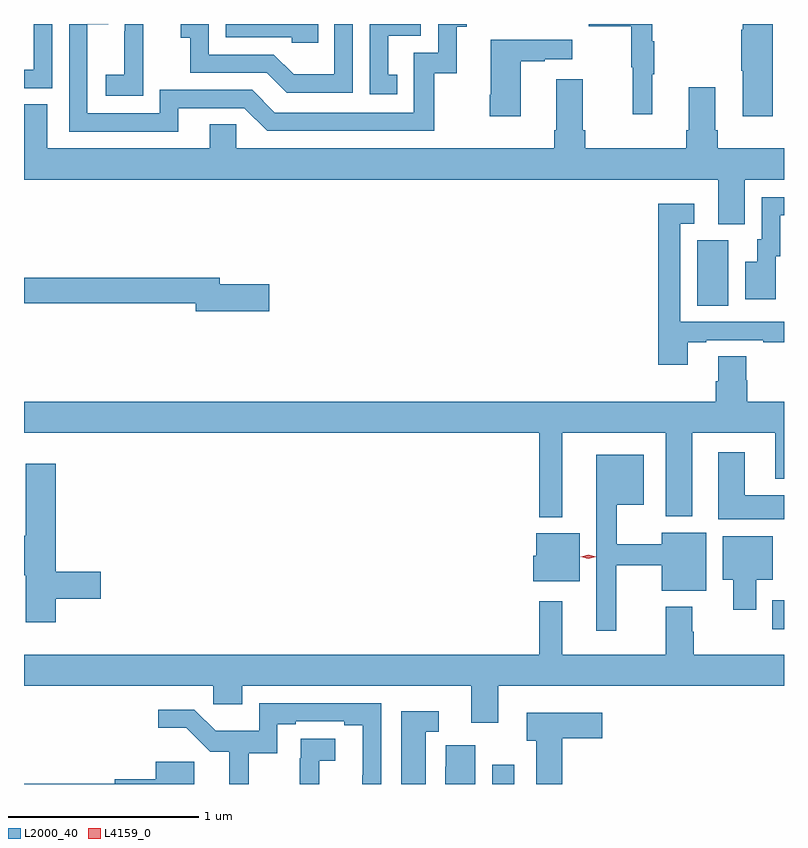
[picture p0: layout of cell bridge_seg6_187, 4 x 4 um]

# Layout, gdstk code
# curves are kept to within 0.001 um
import gdstk
lib = gdstk.Library(unit=1e-6, precision=1e-09)
def R(c, l, rs):  # rectangles x0, y0, x1, y1
    for r in rs: c.add(gdstk.rectangle(r[:2], r[2:], *l))
def P(c, l, *ps):  # polygons
    for p in ps: c.add(gdstk.Polygon(p, *l))
L2000_40 = (2000, 40)
L4159_0 = (4159, 0)

bridge_seg6_187 = lib.new_cell('bridge_seg6_187')
R(bridge_seg6_187, L2000_40, [(305.655,928.171,305.772,928.273), (307.13,928.985,307.191,929.137), (306.734,930.688,306.898,931.032)])
P(bridge_seg6_187, L2000_40, [(304.739,932.171),(304.254,932.171),(304.254,932.1),(304.599,932.1),(304.599,932.073),(304.739,932.073)],
  [(303.819,931.999),(303.818,931.999),(303.818,932.171),(303.72,932.171),(303.72,932.132),(303.719,932.132),(303.719,931.903),(303.621,931.903),(303.621,931.793),(303.819,931.793)],
  [(303.339,932.171),(303.243,932.171),(303.243,931.929),(303.191,931.929),(303.191,931.833),(303.339,931.833)],
  [(304.003,931.728),(304.35,931.728),(304.47,931.608),(305.35,931.608),(305.35,931.911),(305.468,931.911),(305.468,932.157),(305.521,932.157),(305.521,932.171),(305.37,932.171),(305.37,932.019),(305.241,932.019),(305.241,931.704),(304.512,931.704),(304.392,931.824),(303.906,931.824),(303.906,931.701),(303.525,931.701),(303.525,932.17),(303.635,932.171),(303.429,932.171),(303.429,931.605),(304.003,931.605)],
  [(306.497,931.907),(306.508,931.907),(306.508,932.081),(306.497,932.081),(306.497,932.171),(306.163,932.171),(306.163,932.158),(306.387,932.158),(306.387,931.944),(306.394,931.944),(306.394,931.695),(306.497,931.695)],
  [(305.156,931.905),(305.107,931.905),(305.107,932.109),(305.28,932.109),(305.28,932.171),(305.01,932.171),(305.01,931.8),(305.156,931.8)],
  [(307.133,932.171),(306.974,932.171),(306.974,932.141),(306.967,932.141),(306.967,931.924),(306.974,931.924),(306.974,931.686),(307.133,931.686)],
  [(304.92,932.171),(304.824,932.171),(304.824,931.906),(304.61,931.906),(304.506,932.01),(304.164,932.01),(304.164,932.171),(304.017,932.171),(304.017,932.099),(304.066,932.099),(304.066,931.914),(304.469,931.914),(304.574,931.809),(304.92,931.809)],
  [(305.806,931.975),(305.933,931.975),(305.933,931.985),(306.076,931.985),(306.076,932.089),(305.648,932.089),(305.648,931.798),(305.641,931.798),(305.641,931.686),(305.806,931.686)],
  [(306.689,931.837),(306.689,931.612),(306.677,931.612),(306.677,931.516),(306.146,931.516),(306.146,931.612),(306.133,931.612),(306.133,931.879),(305.993,931.879),(305.993,931.612),(305.981,931.612),(305.981,931.516),(304.308,931.516),(304.308,931.643),(304.169,931.643),(304.169,931.516),(303.313,931.516),(303.313,931.748),(303.191,931.748),(303.191,931.352),(306.845,931.352),(306.845,931.117),(306.985,931.117),(306.985,931.352),(307.191,931.352),(307.191,931.516),(306.842,931.516),(306.842,931.612),(306.829,931.612),(306.829,931.837)],
  [(307.147,930.948),(307.171,930.948),(307.171,931.164),(307.191,931.164),(307.191,931.26),(307.074,931.26),(307.074,931.038),(307.049,931.038),(307.049,930.919),(306.986,930.919),(306.986,930.723),(307.147,930.723)],
  [(306.685,930.495),(306.781,930.495),(306.781,930.507),(307.081,930.507),(307.081,930.495),(307.191,930.495),(307.191,930.603),(306.645,930.603),(306.645,931.119),(306.718,931.119),(306.718,931.225),(306.529,931.225),(306.529,930.378),(306.685,930.378)],
  [(304.483,930.8),(304.222,930.8),(304.222,930.836),(303.191,930.836),(303.191,930.7),(304.094,930.7),(304.094,930.658),(304.483,930.658)],
  [(306.025,930.02),(306.569,930.02),(306.569,929.579),(306.709,929.579),(306.709,930.02),(307.145,930.02),(307.145,929.777),(307.191,929.777),(307.191,930.184),(306.998,930.184),(306.998,930.297),(306.993,930.297),(306.993,930.422),(306.845,930.422),(306.845,930.29),(306.833,930.29),(306.833,930.184),(303.191,930.184),(303.191,930.02),(305.904,930.02),(305.904,929.576),(306.025,929.576)],
  [(307.191,929.692),(306.985,929.692),(306.985,929.917),(306.845,929.917),(306.845,929.564),(307.191,929.564)],
  [(306.307,929.322),(306.548,929.322),(306.548,929.189),(306.781,929.189),(306.781,929.494),(306.548,929.494),(306.548,929.432),(306.31,929.432),(306.31,929.642),(306.454,929.642),(306.454,929.905),(306.203,929.905),(306.203,928.977),(306.307,928.977)],
  [(303.359,929.146),(303.595,929.146),(303.595,929.288),(303.359,929.288),(303.359,929.857),(303.2,929.857),(303.2,929.477),(303.193,929.477),(303.193,929.271),(303.2,929.271),(303.2,929.022),(303.359,929.022)],
  [(306.115,929.491),(305.888,929.491),(305.888,929.373),(305.87,929.373),(305.87,929.237),(306.115,929.237)],
  [(307.045,929.246),(307.132,929.246),(307.132,929.476),(306.869,929.476),(306.869,929.246),(306.923,929.246),(306.923,929.088),(307.045,929.088)],
  [(305.686,928.688),(307.191,928.688),(307.191,928.852),(306.717,928.852),(306.717,928.973),(306.709,928.973),(306.709,929.104),(306.569,929.104),(306.569,928.852),(306.025,928.852),(306.025,929.134),(305.904,929.134),(305.904,928.852),(303.191,928.852),(303.191,928.688),(304.188,928.688),(304.188,928.59),(304.339,928.59),(304.339,928.688),(305.546,928.688),(305.546,928.494),(305.686,928.494)],
  [(304.373,928.333),(304.524,928.333),(304.524,928.486),(304.621,928.486),(304.621,928.5),(304.877,928.5),(304.877,928.48),(304.973,928.48),(304.972,928.171),(305.07,928.171),(305.07,928.596),(304.428,928.596),(304.428,928.45),(304.199,928.45),(304.086,928.563),(303.897,928.563),(303.897,928.466),(304.045,928.466),(304.171,928.341),(304.271,928.341),(304.271,928.171),(304.373,928.171)],
  [(305.305,928.447),(305.374,928.447),(305.374,928.555),(305.177,928.555),(305.177,928.171),(305.305,928.171)],
  [(306.023,928.412),(306.235,928.412),(306.235,928.546),(305.838,928.546),(305.838,928.399),(305.888,928.399),(305.888,928.171),(306.023,928.171)],
  [(304.746,928.294),(304.828,928.294),(304.828,928.409),(304.648,928.409),(304.648,928.307),(304.642,928.307),(304.642,928.171),(304.746,928.171)],
  [(305.566,928.375),(305.41,928.375),(305.41,928.262),(305.408,928.262),(305.408,928.171),(305.566,928.171)],
  [(304.087,928.288),(303.884,928.288),(303.884,928.196),(303.668,928.196),(303.668,928.172),(303.191,928.172),(303.191,928.171),(304.087,928.171)])
P(bridge_seg6_187, L4159_0, [(306.161,929.357),(306.121,929.366),(306.12,929.366),(306.121,929.367),(306.161,929.377),(306.202,929.367),(306.202,929.367),(306.202,929.367)])

lib.write_gds('bridge_seg6_187.gds')
